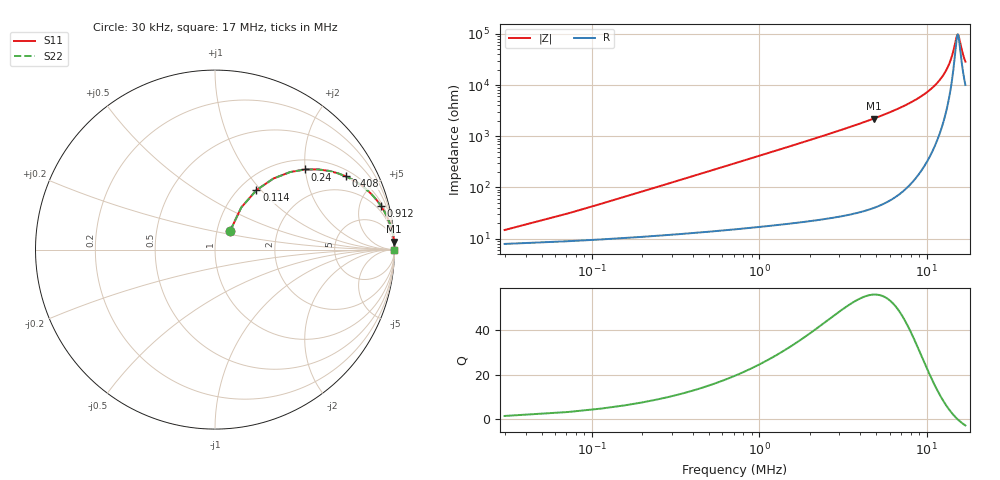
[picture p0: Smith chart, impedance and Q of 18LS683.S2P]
! Coilcraft 1812LS-683 Chip Inductor
! 8 August 2002
# MHZ S MA R 50
!Freq  MagS11  AngS11  MagS21  AngS21  MagS12  AngS12  MagS22  AngS22
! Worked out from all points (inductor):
!   406 points, 30 kHz to 17 MHz, reference 50 ohm
!   read as one part in series: L = 66 uH near 114 kHz
!   highest Q = 55.9 at 4.818 MHz (marker M1), where L = 73.3 uH
!   self-resonance near 15.32 MHz
!   S11 on the Smith chart (normalised r, x): 30 kHz: 1.16, +0.25; 114 kHz: 1.19, +0.95; 240 kHz: 1.23, +1.99; 408 kHz: 1.26, +3.39; 912 kHz: 1.33, +7.59; 17 MHz: open
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0.03  0.1356 51.1  0.9209 -6.6  0.9209 -6.6  0.1356 51.1
0.114  0.4041 55.1  0.8375 -23.3  0.8375 -23.3  0.4041 55.1
0.156  0.5124 50.6  0.7822 -30.4  0.7822 -30.4  0.5124 50.6
0.24  0.671 41.7  0.6697 -41.8  0.6697 -41.8  0.671 41.7
0.324  0.771 34.7  0.5712 -50.2  0.5712 -50.2  0.771 34.7
0.408  0.8344 29.3  0.4914 -56.3  0.4914 -56.3  0.8344 29.3
0.618  0.9147 20.8  0.3558 -66.0  0.3558 -66.0  0.9147 20.8
0.912  0.9569 14.6  0.2519 -73.0  0.2519 -73.0  0.9569 14.6
1.71  0.9866 7.9  0.1373 -80.5  0.1373 -80.5  0.9866 7.9
2.886  0.9951 4.6  0.08017 -84.2  0.08017 -84.2  0.9951 4.6
4.818  0.9982 2.6  0.045 -86.4  0.045 -86.4  0.9982 2.6
5.7  0.9987 2.1  0.03639 -86.9  0.03639 -86.9  0.9987 2.1
8.556  0.9993 1.1  0.01937 -87.2  0.01937 -87.2  0.9993 1.1
11.37  0.9993 0.5  0.00953 -85.4  0.00953 -85.4  0.9993 0.5
13.008  0.9992 0.3  0.005223 -80.9  0.005223 -80.9  0.9992 0.3
13.638  0.9991 0.2  0.00376 -76.7  0.00376 -76.7  0.9991 0.2
14.184  0.9991 0.1  0.002588 -69.4  0.002588 -69.4  0.9991 0.1
15.024  0.999 0.0  0.001168 -31.9  0.001168 -31.9  0.999 0.0
15.318  0.999 0.0  0.001022 -0.6  0.001022 -0.6  0.999 0.0
15.57  0.9989 -0.0  0.001163 25.4  0.001163 25.4  0.9989 -0.0
16.41  0.9989 -0.1  0.002434 61.8  0.002434 61.8  0.9989 -0.1
17  0.9988 -0.2  0.003476 69.3  0.003476 69.3  0.9988 -0.2
